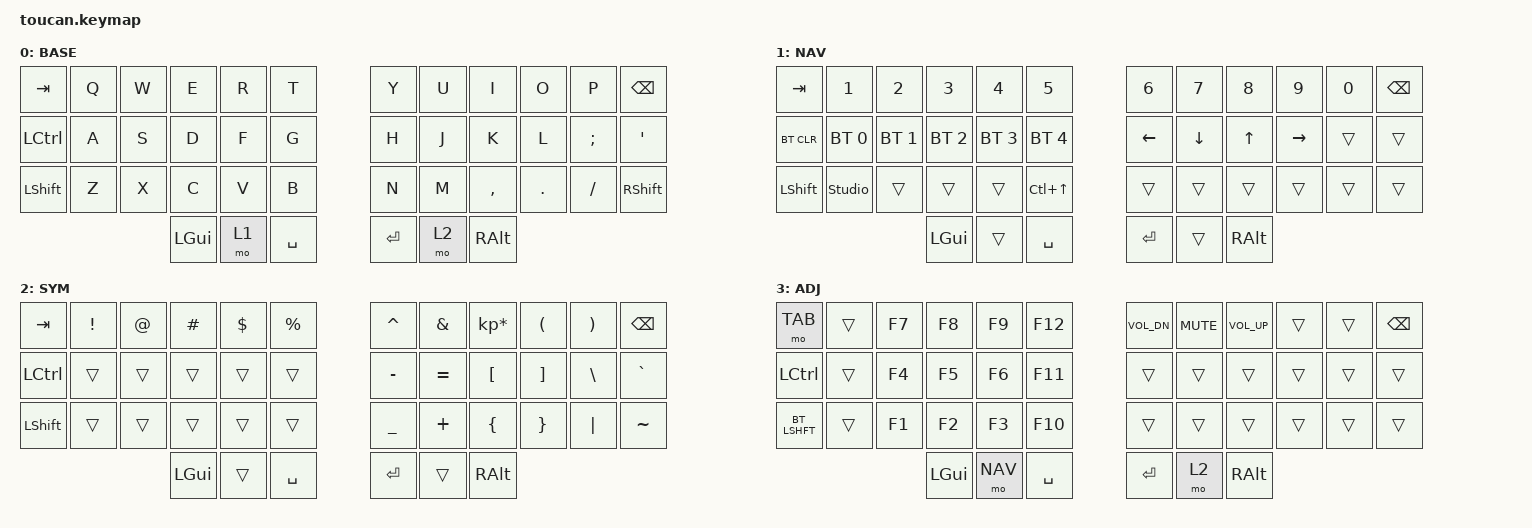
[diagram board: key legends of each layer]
#include <behaviors.dtsi>
#include <dt-bindings/zmk/keys.h>
#include <dt-bindings/zmk/bt.h>
#include <dt-bindings/zmk/outputs.h>

#define BASE 0
#define NAV  1
#define SYM  2
#define ADJ  3

/ {
    conditional_layers {
        compatible = "zmk,conditional-layers";
        tri_layer {
            if-layers = <1 2>;
            then-layer = <3>;
        };
    };

    combos {
        compatible = "zmk,combos";

        /* Both pinkies (left Shift + right Shift) toggle Caps Lock */
        combo_caps_lock {
            timeout-ms = <50>;
            key-positions = <24 35>;
            bindings = <&kp CAPS>;
        };

        /* Both innermost thumbs (Space + Return) tapped together = Esc.
           Kept off the NAV/SYM layer keys so the ADJ tri-layer still works. */
        combo_esc {
            timeout-ms = <50>;
            key-positions = <38 39>;
            bindings = <&kp ESC>;
        };
    };

    keymap {
        compatible = "zmk,keymap";

        base {
            display-name = "BASE";
            bindings = <
                &kp TAB   &kp Q &kp W &kp E &kp R &kp T   &kp Y &kp U  &kp I     &kp O   &kp P    &kp BSPC
                &kp LCTRL &kp A &kp S &kp D &kp F &kp G   &kp H &kp J  &kp K     &kp L   &kp SEMI &kp SQT
                &kp LSHFT &kp Z &kp X &kp C &kp V &kp B   &kp N &kp M  &kp COMMA &kp DOT &kp FSLH &kp RSHFT
                                &kp LGUI &mo 1 &kp SPACE   &kp RET &mo 2 &kp RALT
            >;
        };

        nav {
            display-name = "NAV";
            bindings = <
                &kp TAB     &kp N1          &kp N2       &kp N3       &kp N4       &kp N5         &kp N6   &kp N7   &kp N8 &kp N9    &kp N0 &kp BSPC
                &bt BT_CLR  &bt BT_SEL 0    &bt BT_SEL 1 &bt BT_SEL 2 &bt BT_SEL 3 &bt BT_SEL 4   &kp LEFT &kp DOWN &kp UP &kp RIGHT &trans &trans
                &kp LSHFT   &studio_unlock  &trans       &trans       &trans       &kp LC(UP)     &trans   &trans   &trans &trans    &trans &trans
                                                &kp LGUI     &trans       &kp SPACE      &kp RET  &trans   &kp RALT
            >;
        };

        sym {
            display-name = "SYM";
            bindings = <
                &kp TAB   &kp EXCL &kp AT &kp HASH &kp DLLR &kp PRCNT   &kp CARET &kp AMPS  &kp KP_MULTIPLY &kp LPAR &kp RPAR &kp BSPC
                &kp LCTRL &trans   &trans &trans   &trans   &trans      &kp MINUS &kp EQUAL &kp LBKT        &kp RBKT &kp BSLH &kp GRAVE
                &kp LSHFT &trans   &trans &trans   &trans   &trans      &kp UNDER &kp PLUS  &kp LBRC        &kp RBRC &kp PIPE &kp TILDE
                                          &kp LGUI &trans   &kp SPACE   &kp RET   &trans    &kp RALT
            >;
        };

        adj {
            display-name = "ADJ";
            bindings = <
                &mo TAB   &trans &kp F7 &kp F8 &kp F9 &kp F12   &kp C_VOL_DN &kp C_MUTE  &kp C_VOL_UP &trans &trans &kp BSPC
                &kp LCTRL &trans &kp F4 &kp F5 &kp F6 &kp F11   &trans       &trans      &trans       &trans &trans &trans
                &bt LSHFT &trans &kp F1 &kp F2 &kp F3 &kp F10   &trans       &trans      &trans       &trans &trans &trans
                                   &kp LGUI &mo NAV &kp SPACE   &kp RET &mo 2 &kp RALT
            >;
        };
        extra_1 {
                status = "reserved";
        };

        extra_2 {
                status = "reserved";
        };

        extra_3 {
                status = "reserved";
        };
    };
};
